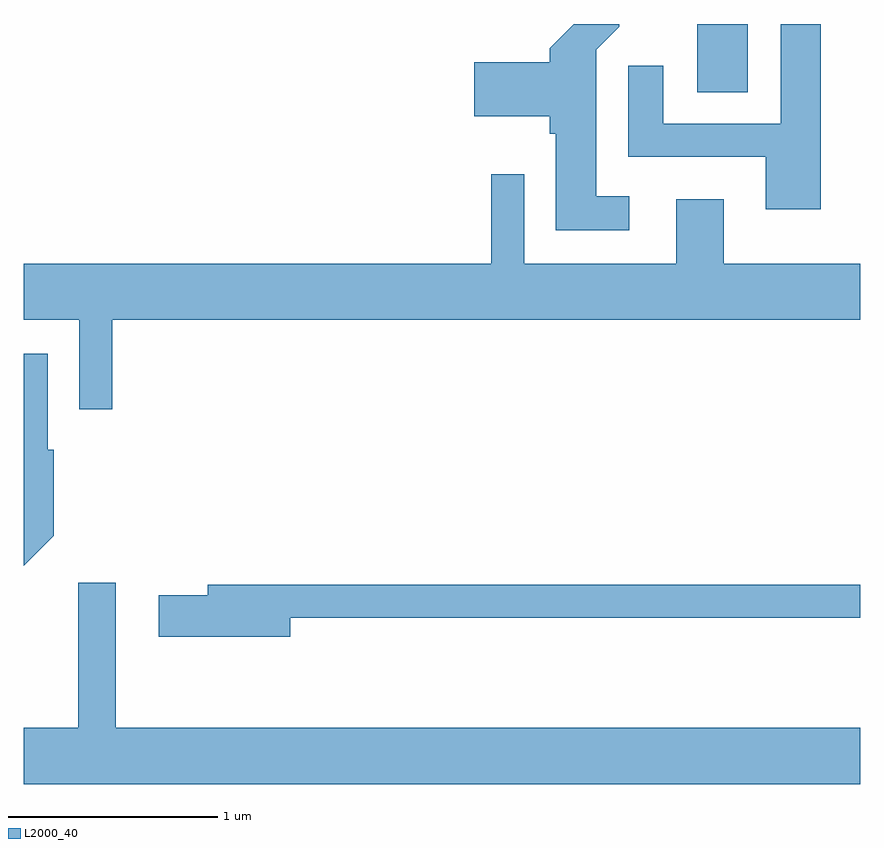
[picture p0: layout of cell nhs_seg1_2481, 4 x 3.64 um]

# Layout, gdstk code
import gdstk
lib = gdstk.Library(unit=1e-6, precision=1e-09)
def R(c, l, rs):  # rectangles x0, y0, x1, y1
    for r in rs: c.add(gdstk.rectangle(r[:2], r[2:], *l))
def P(c, l, *ps):  # polygons
    for p in ps: c.add(gdstk.Polygon(p, *l))
L2000_40 = (2000, 40)

nhs_seg1_2481 = lib.new_cell('nhs_seg1_2481')
R(nhs_seg1_2481, L2000_40, [(264.831,847.386,265.074,847.712)])
P(nhs_seg1_2481, L2000_40, [(264.508,846.889),(264.349,846.889),(264.349,847.589),(264.459,847.699),(264.459,847.712),(264.241,847.712),(264.126,847.597),(264.126,847.529),(263.766,847.529),(263.766,847.271),(264.126,847.271),(264.126,847.186),(264.156,847.186),(264.156,846.726),(264.508,846.726)],
  [(265.424,847.712),(265.231,847.712),(265.231,847.234),(264.669,847.234),(264.669,847.513),(264.501,847.513),(264.501,847.076),(265.161,847.076),(265.161,846.826),(265.424,846.826)],
  [(262.034,846.296),(265.611,846.296),(265.611,846.564),(264.959,846.564),(264.959,846.874),(264.731,846.874),(264.731,846.564),(264.004,846.564),(264.004,846.993),(263.846,846.993),(263.846,846.564),(261.611,846.564),(261.611,846.296),(261.876,846.296),(261.876,845.868),(262.034,845.868)],
  [(261.754,845.264),(261.754,845.674),(261.724,845.674),(261.724,846.134),(261.611,846.134),(261.611,845.121)],
  [(265.611,844.344),(262.049,844.344),(262.049,845.039),(261.871,845.039),(261.871,844.344),(261.611,844.344),(261.611,844.076),(265.611,844.076)],
  [(262.884,844.871),(265.611,844.871),(265.611,845.029),(262.491,845.029),(262.491,844.979),(262.256,844.979),(262.256,844.781),(262.884,844.781)])

lib.write_gds('nhs_seg1_2481.gds')
